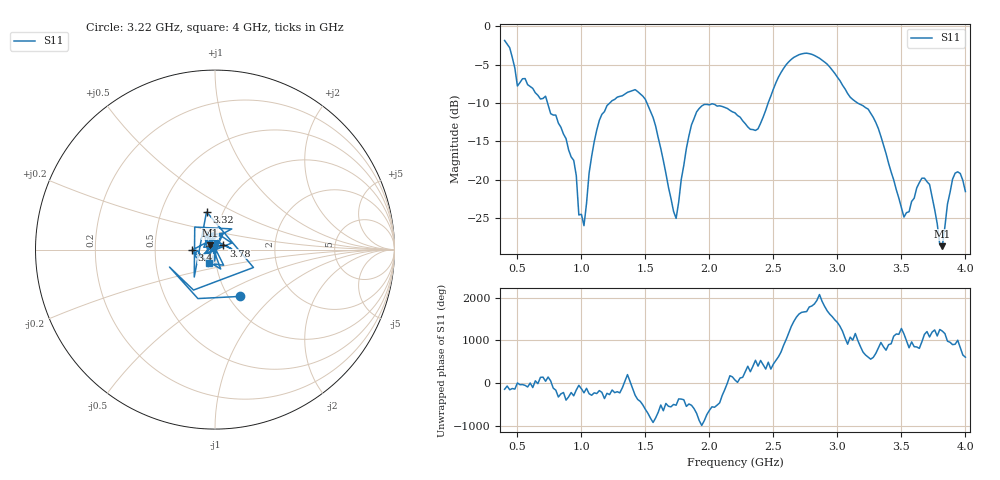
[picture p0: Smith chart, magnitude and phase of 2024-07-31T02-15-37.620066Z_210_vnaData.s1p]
!Created with skrf (http://scikit-rf.org).
# Hz S RI R 50.0
!freq ReS11 ImS11
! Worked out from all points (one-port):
!   181 points, 400 MHz to 4 GHz, reference 50 ohm
!   lowest |S11| = -28.7 dB at 3.82 GHz (marker M1), VSWR 1.08, Z = 47.2 + j2.25 ohm
!   |S11| at or under -10 dB: 735.4 MHz to 1.221 GHz (485.9 MHz wide, 49.7 % of centre); 1.512 GHz to 2.459 GHz (946.8 MHz wide, 47.7 % of centre); 3.158 GHz to end of sweep
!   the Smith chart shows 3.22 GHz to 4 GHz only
!   S11 on the Smith chart (normalised r, x): 3.22 GHz: 1.13, -0.64; 3.32 GHz: 0.84, +0.37; 3.4 GHz: 0.77, -0.01; 3.78 GHz: 1.10, +0.05; 4 GHz: 0.93, -0.14
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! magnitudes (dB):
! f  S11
! 400 MHz  -1.8
! 500 MHz  -7.8
! 720 MHz  -9.1
! 860 MHz  -14.0
! 940 MHz  -17.5
! 980 MHz  -24.6
! 1.02 GHz  -26.0
! 1.06 GHz  -19.1
! 1.14 GHz  -12.3
! 1.3 GHz  -9.1
! 1.5 GHz  -9.5
! 1.72 GHz  -24.1
! 1.76 GHz  -22.9
! 1.9 GHz  -11.1
! 2.2 GHz  -11.3
! 2.38 GHz  -13.4
! 2.66 GHz  -4.0
! 3.1 GHz  -9.2
! 3.22 GHz  -10.6
! 3.32 GHz  -13.3
! 3.4 GHz  -17.9
! 3.52 GHz  -24.9
! 3.56 GHz  -24.2
! 3.68 GHz  -19.8
! 3.78 GHz  -25.7
! 3.82 GHz  -28.7
! 3.9 GHz  -19.9
! 4 GHz  -21.5
